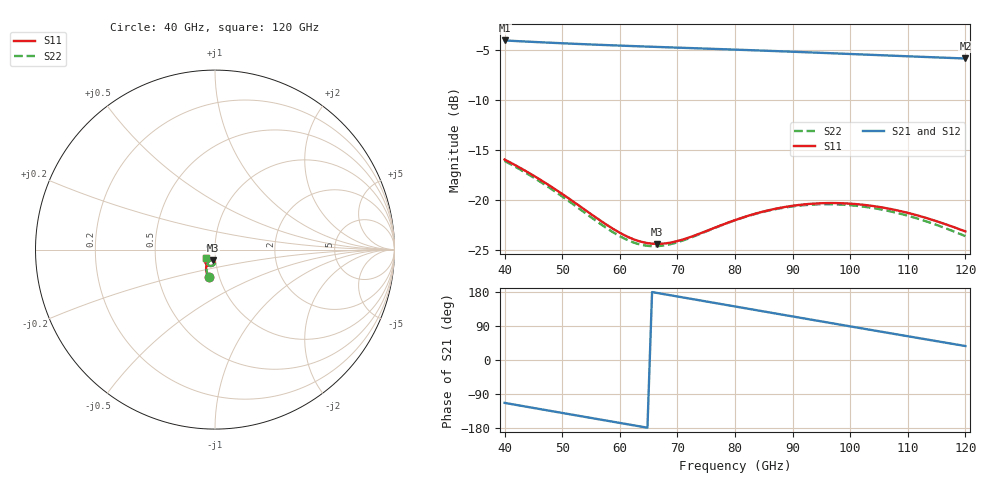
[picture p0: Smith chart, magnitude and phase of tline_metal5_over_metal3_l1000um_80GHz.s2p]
#  GHZ S DB R 50
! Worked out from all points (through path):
!   101 points, 40 GHz to 120 GHz, reference 50 ohm
!   highest |S21| = -4.05 dB at 40 GHz (marker M1); lowest = -5.9 dB at 120 GHz (marker M2)
!   group delay of S21, straight-line fit = 7.3 ps
!   lowest |S11| = -24.4 dB at 66.4 GHz (marker M3), VSWR 1.13, Z = 48.4 - j5.72 ohm
!   |S11| at or under -10 dB: start of sweep to end of sweep
!   |S22| runs from -24.6 to -16.1 dB; largest |S21 - S12| = 7e-14
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40  -15.96 -102.6  -4.05 -113.2  -4.05 -113.2  -16.10 -102.4
43.2  -16.96 -108.3  -4.15 -121.7  -4.15 -121.7  -17.13 -108.0
47.2  -18.34 -114.1  -4.26 -132.3  -4.26 -132.3  -18.56 -113.7
53.6  -20.84 -118.8  -4.42 -149.2  -4.42 -149.2  -21.14 -118.0
57.6  -22.44 -117.6  -4.52 -159.7  -4.52 -159.7  -22.78 -116.2
60.8  -23.53 -113.7  -4.59 -168.1  -4.59 -168.1  -23.87 -111.7
64  -24.22 -107.6  -4.65 -176.6  -4.65 -176.6  -24.51 -105.1
66.4  -24.39 -102.6  -4.70 177.1  -4.70 177.1  -24.62 -99.8
67.2  -24.38 -101.0  -4.72 175.0  -4.72 175.0  -24.58 -98.1
70.4  -24.05 -95.5  -4.78 166.6  -4.78 166.6  -24.16 -92.7
73.6  -23.42 -92.3  -4.84 158.2  -4.84 158.2  -23.48 -89.7
80  -22.02 -92.4  -4.97 141.3  -4.97 141.3  -22.04 -90.6
84  -21.30 -95.6  -5.05 130.8  -5.05 130.8  -21.33 -94.1
87.2  -20.86 -99.2  -5.12 122.3  -5.12 122.3  -20.90 -97.9
90.4  -20.55 -103.3  -5.19 113.9  -5.19 113.9  -20.62 -102.2
93.6  -20.37 -107.8  -5.26 105.5  -5.26 105.5  -20.46 -106.9
96.8  -20.31 -112.4  -5.33 97.1  -5.33 97.1  -20.43 -111.6
100  -20.37 -117.1  -5.41 88.8  -5.41 88.8  -20.53 -116.3
103.2  -20.55 -121.6  -5.48 80.4  -5.48 80.4  -20.74 -120.9
107.2  -20.93 -126.8  -5.57 70.0  -5.57 70.0  -21.17 -126.2
113.6  -21.87 -133.5  -5.72 53.4  -5.72 53.4  -22.22 -132.9
120  -23.15 -137.1  -5.86 36.9  -5.86 36.9  -23.62 -136.1
